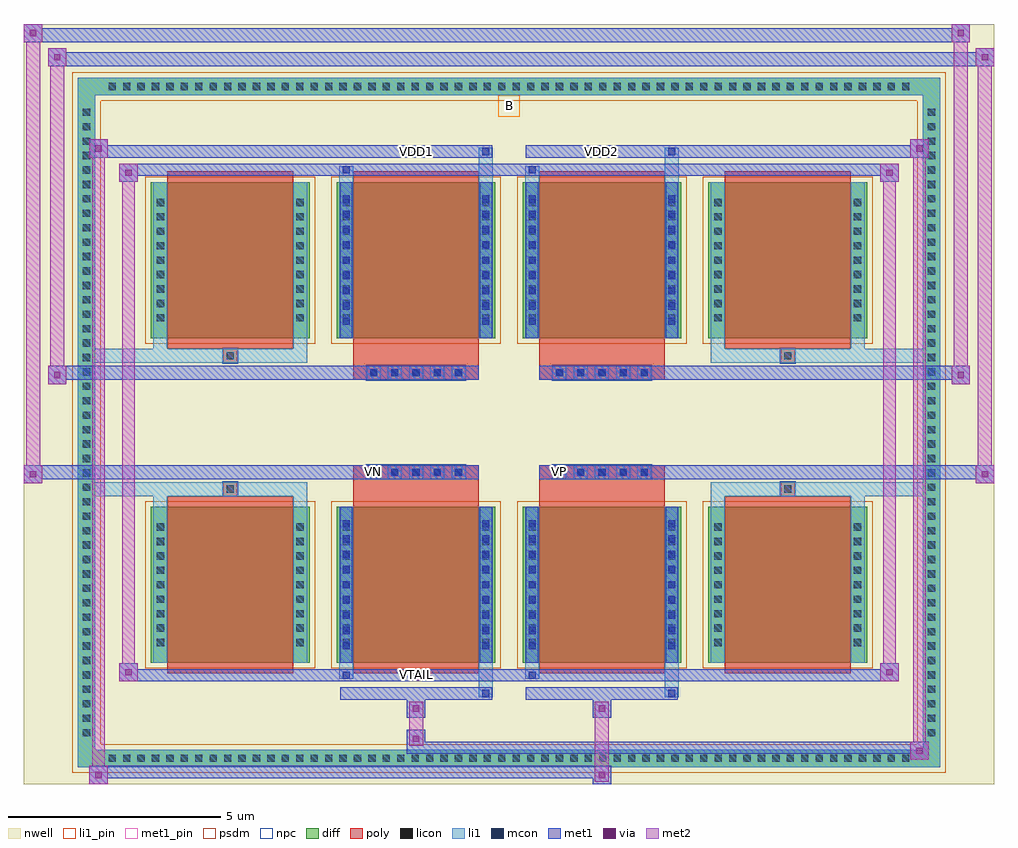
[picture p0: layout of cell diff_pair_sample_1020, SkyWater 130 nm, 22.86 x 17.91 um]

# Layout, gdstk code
import gdstk
lib = gdstk.Library(unit=1e-6, precision=5e-09)
def R(c, l, rs):  # rectangles x0, y0, x1, y1
    for r in rs: c.add(gdstk.rectangle(r[:2], r[2:], *l))
def A(c, l, x, y, w, h, nx, ny, dx, dy):  # array of equal rectangles
    R(c, l, [(x+i*dx, y+j*dy, x+i*dx+w, y+j*dy+h) for i in range(nx) for j in range(ny)])
def P(c, l, *ps):  # polygons
    for p in ps: c.add(gdstk.Polygon(p, *l))
nwell = (64, 20)
diff = (65, 20)
poly = (66, 20)
licon = (66, 44)
li1_pin = (67, 16)
li1 = (67, 20)
mcon = (67, 44)
met1_pin = (68, 16)
met1 = (68, 20)
via = (68, 44)
met2 = (69, 20)
psdm = (94, 20)
npc = (95, 20)

diff_pair_sample_1020 = lib.new_cell('diff_pair_sample_1020')
R(diff_pair_sample_1020, nwell, [(-11.43,-8.52,11.43,9.39), (-8.75,-6.71,-0.01,-0.805), (0.01,-6.71,8.75,-0.805), (-8.75,0.805,-0.01,6.71), (0.01,0.805,8.75,6.71)])
A(diff_pair_sample_1020, diff, -9.555, -8.12, 0.41, 0.41, 56, 2, 0.34, 15.83)
A(diff_pair_sample_1020, diff, -10.16, -7.515, 0.41, 0.41, 1, 44, 0, 0.34)
A(diff_pair_sample_1020, diff, 9.75, -7.515, 0.41, 0.41, 1, 44, 0, 0.34)
A(diff_pair_sample_1020, diff, -8.44, -5.665, 3.74, 3.68, 4, 2, 4.38, 7.65)
R(diff_pair_sample_1020, diff, [(-9.555,-8.12,9.555,-7.71), (-10.16,-7.515,-9.75,7.515), (9.75,-7.515,10.16,7.515), (-9.555,7.71,9.555,8.12)])
P(diff_pair_sample_1020, diff, [(10.16,8.12),(-10.16,8.12),(-10.16,-7.71),(-9.75,-7.71),(-9.75,7.71),(9.75,7.71),(9.75,-7.71),(-9.75,-7.71),(-10.16,-7.71),(-10.16,-8.12),(10.16,-8.12)])
A(diff_pair_sample_1020, poly, -8.05, -5.915, 2.96, 4.18, 4, 2, 4.38, 7.65)
A(diff_pair_sample_1020, poly, -3.355, -1.335, 0.33, 0.33, 5, 2, 0.5, 2.34)
A(diff_pair_sample_1020, poly, 1.025, -1.335, 0.33, 0.33, 5, 2, 0.5, 2.34)
R(diff_pair_sample_1020, poly, [(-6.735,-1.735,-6.405,-1.405), (-6.735,-1.735,-6.405,-1.405), (-3.67,-1.735,-0.71,-1.335), (0.71,-1.735,3.67,-1.335), (6.405,-1.735,6.735,-1.405), (6.405,-1.735,6.735,-1.405), (-3.67,-1.335,-0.71,-1.005), (0.71,-1.335,3.67,-1.005), (-3.67,1.005,-0.71,1.335), (0.71,1.005,3.67,1.335), (-3.67,1.335,-0.71,1.735), (0.71,1.335,3.67,1.735), (-6.735,1.405,-6.405,1.735), (-6.735,1.405,-6.405,1.735), (6.405,1.405,6.735,1.735), (6.405,1.405,6.735,1.735)])
A(diff_pair_sample_1020, licon, -9.435, -8, 0.17, 0.17, 56, 2, 0.34, 15.83)
A(diff_pair_sample_1020, licon, -10.04, -7.395, 0.17, 0.17, 1, 44, 0, 0.34)
A(diff_pair_sample_1020, licon, 9.87, -7.395, 0.17, 0.17, 1, 44, 0, 0.34)
A(diff_pair_sample_1020, licon, -8.3, -5.27, 0.17, 0.17, 1, 9, 0, 0.34)
A(diff_pair_sample_1020, licon, -5.01, -5.27, 0.17, 0.17, 1, 9, 0, 0.34)
A(diff_pair_sample_1020, licon, -3.92, -5.27, 0.17, 0.17, 1, 9, 0, 0.34)
A(diff_pair_sample_1020, licon, -0.63, -5.27, 0.17, 0.17, 1, 9, 0, 0.34)
A(diff_pair_sample_1020, licon, 0.46, -5.27, 0.17, 0.17, 1, 9, 0, 0.34)
A(diff_pair_sample_1020, licon, 3.75, -5.27, 0.17, 0.17, 1, 9, 0, 0.34)
A(diff_pair_sample_1020, licon, 4.84, -5.27, 0.17, 0.17, 1, 9, 0, 0.34)
A(diff_pair_sample_1020, licon, 8.13, -5.27, 0.17, 0.17, 1, 9, 0, 0.34)
A(diff_pair_sample_1020, licon, -3.275, -1.255, 0.17, 0.17, 5, 2, 0.5, 2.34)
A(diff_pair_sample_1020, licon, 1.105, -1.255, 0.17, 0.17, 5, 2, 0.5, 2.34)
A(diff_pair_sample_1020, licon, -8.3, 2.38, 0.17, 0.17, 1, 9, 0, 0.34)
A(diff_pair_sample_1020, licon, -5.01, 2.38, 0.17, 0.17, 1, 9, 0, 0.34)
A(diff_pair_sample_1020, licon, -3.92, 2.38, 0.17, 0.17, 1, 9, 0, 0.34)
A(diff_pair_sample_1020, licon, -0.63, 2.38, 0.17, 0.17, 1, 9, 0, 0.34)
A(diff_pair_sample_1020, licon, 0.46, 2.38, 0.17, 0.17, 1, 9, 0, 0.34)
A(diff_pair_sample_1020, licon, 3.75, 2.38, 0.17, 0.17, 1, 9, 0, 0.34)
A(diff_pair_sample_1020, licon, 4.84, 2.38, 0.17, 0.17, 1, 9, 0, 0.34)
A(diff_pair_sample_1020, licon, 8.13, 2.38, 0.17, 0.17, 1, 9, 0, 0.34)
R(diff_pair_sample_1020, licon, [(-6.655,-1.655,-6.485,-1.485), (6.485,-1.655,6.655,-1.485), (-6.655,1.485,-6.485,1.655), (6.485,1.485,6.655,1.655)])
R(diff_pair_sample_1020, li1_pin, [(-0.25,7.21,0.25,7.71)])
A(diff_pair_sample_1020, li1, -9.515, -8.08, 0.33, 0.33, 56, 2, 0.34, 15.83)
A(diff_pair_sample_1020, li1, -10.12, -7.475, 0.33, 0.33, 1, 44, 0, 0.34)
A(diff_pair_sample_1020, li1, 9.79, -7.475, 0.33, 0.33, 1, 44, 0, 0.34)
A(diff_pair_sample_1020, li1, -8.38, -5.35, 0.33, 0.33, 1, 9, 0, 0.34)
A(diff_pair_sample_1020, li1, -5.09, -5.35, 0.33, 0.33, 1, 9, 0, 0.34)
A(diff_pair_sample_1020, li1, -4, -5.35, 0.33, 0.33, 1, 9, 0, 0.34)
A(diff_pair_sample_1020, li1, -3.92, -5.35, 0.17, 0.17, 1, 9, 0, 0.36)
A(diff_pair_sample_1020, li1, -0.71, -5.35, 0.33, 0.33, 1, 9, 0, 0.34)
A(diff_pair_sample_1020, li1, -0.63, -5.35, 0.17, 0.17, 1, 9, 0, 0.36)
A(diff_pair_sample_1020, li1, 0.38, -5.35, 0.33, 0.33, 1, 9, 0, 0.34)
A(diff_pair_sample_1020, li1, 0.46, -5.35, 0.17, 0.17, 1, 9, 0, 0.36)
A(diff_pair_sample_1020, li1, 3.67, -5.35, 0.33, 0.33, 1, 9, 0, 0.34)
A(diff_pair_sample_1020, li1, 3.75, -5.35, 0.17, 0.17, 1, 9, 0, 0.36)
A(diff_pair_sample_1020, li1, 4.76, -5.35, 0.33, 0.33, 1, 9, 0, 0.34)
A(diff_pair_sample_1020, li1, 8.05, -5.35, 0.33, 0.33, 1, 9, 0, 0.34)
A(diff_pair_sample_1020, li1, -3.355, -1.335, 0.33, 0.33, 5, 2, 0.5, 2.34)
A(diff_pair_sample_1020, li1, 1.025, -1.335, 0.33, 0.33, 5, 2, 0.5, 2.34)
A(diff_pair_sample_1020, li1, -8.38, 2.3, 0.33, 0.33, 1, 9, 0, 0.34)
A(diff_pair_sample_1020, li1, -5.09, 2.3, 0.33, 0.33, 1, 9, 0, 0.34)
A(diff_pair_sample_1020, li1, -4, 2.3, 0.33, 0.33, 1, 9, 0, 0.34)
A(diff_pair_sample_1020, li1, -3.92, 2.3, 0.17, 0.17, 1, 9, 0, 0.36)
A(diff_pair_sample_1020, li1, -0.71, 2.3, 0.33, 0.33, 1, 9, 0, 0.34)
A(diff_pair_sample_1020, li1, -0.63, 2.3, 0.17, 0.17, 1, 9, 0, 0.36)
A(diff_pair_sample_1020, li1, 0.38, 2.3, 0.33, 0.33, 1, 9, 0, 0.34)
A(diff_pair_sample_1020, li1, 0.46, 2.3, 0.17, 0.17, 1, 9, 0, 0.36)
A(diff_pair_sample_1020, li1, 3.67, 2.3, 0.33, 0.33, 1, 9, 0, 0.34)
A(diff_pair_sample_1020, li1, 3.75, 2.3, 0.17, 0.17, 1, 9, 0, 0.36)
A(diff_pair_sample_1020, li1, 4.76, 2.3, 0.33, 0.33, 1, 9, 0, 0.34)
A(diff_pair_sample_1020, li1, 8.05, 2.3, 0.33, 0.33, 1, 9, 0, 0.34)
R(diff_pair_sample_1020, li1, [(-10.16,-8.12,-9.75,-7.71), (-10.16,-8.12,-9.75,-7.71), (-9.75,-8.12,9.75,-7.71), (9.75,-8.12,10.16,-7.71), (9.75,-8.12,10.16,-7.71), (-10.16,-7.71,-9.75,7.71), (9.75,-7.71,10.16,7.71), (-0.71,-6.47,-0.38,-5.665), (-0.63,-6.47,-0.46,-6.3), (3.67,-6.47,4,-5.665), (3.75,-6.47,3.92,-6.3), (-4,-6.04,-3.67,-5.665), (-3.92,-6.04,-3.75,-5.87), (0.38,-6.04,0.71,-5.665), (0.46,-6.04,0.63,-5.87), (-8.38,-5.665,-8.05,-1.985), (-5.09,-5.665,-4.76,-1.985), (-4,-5.665,-3.67,-1.985), (-0.71,-5.665,-0.38,-1.985), (0.38,-5.665,0.71,-1.985), (3.67,-5.665,4,-1.985), (4.76,-5.665,5.09,-1.985), (8.05,-5.665,8.38,-1.985), (-3.92,-5.35,-3.75,-2.3), (-0.63,-5.35,-0.46,-2.3), (0.46,-5.35,0.63,-2.3), (3.75,-5.35,3.92,-2.3), (-8.38,-1.985,-8.05,-1.405), (-5.09,-1.985,-4.76,-1.405), (4.76,-1.985,5.09,-1.405), (8.05,-1.985,8.38,-1.405), (-10.16,-1.735,-6.735,-1.405), (-8.38,-1.735,-6.735,-1.405), (-6.735,-1.735,-6.405,-1.405), (-6.405,-1.735,-4.76,-1.405), (4.76,-1.735,6.405,-1.405), (6.405,-1.735,6.735,-1.405), (6.405,-1.735,10.16,-1.405), (6.735,-1.735,8.38,-1.405), (-10.16,1.405,-6.735,1.735), (-8.38,1.405,-6.735,1.735), (-8.38,1.405,-8.05,1.985), (-6.735,1.405,-6.405,1.735), (-6.405,1.405,-4.76,1.735), (-5.09,1.405,-4.76,1.985), (4.76,1.405,6.405,1.735), (4.76,1.405,5.09,1.985), (6.405,1.405,6.735,1.735), (6.405,1.405,10.16,1.735), (6.735,1.405,8.38,1.735), (8.05,1.405,8.38,1.985), (-8.38,1.985,-8.05,5.665), (-5.09,1.985,-4.76,5.665), (-4,1.985,-3.67,5.665), (-0.71,1.985,-0.38,5.665), (0.38,1.985,0.71,5.665), (3.67,1.985,4,5.665), (4.76,1.985,5.09,5.665), (8.05,1.985,8.38,5.665), (-3.92,2.3,-3.75,5.35), (-0.63,2.3,-0.46,5.35), (0.46,2.3,0.63,5.35), (3.75,2.3,3.92,5.35), (-4,5.665,-3.67,6.04), (-0.71,5.665,-0.38,6.47), (0.38,5.665,0.71,6.04), (3.67,5.665,4,6.47), (-3.92,5.87,-3.75,6.04), (0.46,5.87,0.63,6.04), (-0.63,6.3,-0.46,6.47), (3.75,6.3,3.92,6.47), (-10.16,7.71,-9.75,8.12), (-10.16,7.71,-9.75,8.12), (-9.75,7.71,9.75,8.12), (9.75,7.71,10.16,8.12), (9.75,7.71,10.16,8.12)])
A(diff_pair_sample_1020, mcon, -3.92, -5.35, 0.17, 0.17, 1, 9, 0, 0.36)
A(diff_pair_sample_1020, mcon, -0.63, -5.35, 0.17, 0.17, 1, 9, 0, 0.36)
A(diff_pair_sample_1020, mcon, 0.46, -5.35, 0.17, 0.17, 1, 9, 0, 0.36)
A(diff_pair_sample_1020, mcon, 3.75, -5.35, 0.17, 0.17, 1, 9, 0, 0.36)
A(diff_pair_sample_1020, mcon, -3.275, -1.255, 0.17, 0.17, 5, 2, 0.5, 2.34)
A(diff_pair_sample_1020, mcon, 1.105, -1.255, 0.17, 0.17, 5, 2, 0.5, 2.34)
A(diff_pair_sample_1020, mcon, -3.92, 2.3, 0.17, 0.17, 1, 9, 0, 0.36)
A(diff_pair_sample_1020, mcon, -0.63, 2.3, 0.17, 0.17, 1, 9, 0, 0.36)
A(diff_pair_sample_1020, mcon, 0.46, 2.3, 0.17, 0.17, 1, 9, 0, 0.36)
A(diff_pair_sample_1020, mcon, 3.75, 2.3, 0.17, 0.17, 1, 9, 0, 0.36)
R(diff_pair_sample_1020, mcon, [(-0.63,-6.47,-0.46,-6.3), (3.75,-6.47,3.92,-6.3), (-3.92,-6.04,-3.75,-5.87), (0.46,-6.04,0.63,-5.87), (-3.92,5.87,-3.75,6.04), (0.46,5.87,0.63,6.04), (-0.63,6.3,-0.46,6.47), (3.75,6.3,3.92,6.47)])
R(diff_pair_sample_1020, met1_pin, [(-2.325,-6.08,-2.055,-5.81), (-3.325,-1.295,-3.055,-1.025), (1.055,-1.295,1.325,-1.025), (-2.325,6.26,-2.055,6.53), (2.055,6.26,2.325,6.53)])
A(diff_pair_sample_1020, met1, -3.98, -5.41, 0.29, 0.29, 1, 9, 0, 0.36)
A(diff_pair_sample_1020, met1, -0.69, -5.41, 0.29, 0.29, 1, 9, 0, 0.36)
A(diff_pair_sample_1020, met1, 0.4, -5.41, 0.29, 0.29, 1, 9, 0, 0.36)
A(diff_pair_sample_1020, met1, 3.69, -5.41, 0.29, 0.29, 1, 9, 0, 0.36)
A(diff_pair_sample_1020, met1, -3.335, -1.315, 0.29, 0.29, 5, 2, 0.5, 2.34)
A(diff_pair_sample_1020, met1, 1.045, -1.315, 0.29, 0.29, 5, 2, 0.5, 2.34)
A(diff_pair_sample_1020, met1, -3.98, 2.24, 0.29, 0.29, 1, 9, 0, 0.36)
A(diff_pair_sample_1020, met1, -0.69, 2.24, 0.29, 0.29, 1, 9, 0, 0.36)
A(diff_pair_sample_1020, met1, 0.4, 2.24, 0.29, 0.29, 1, 9, 0, 0.36)
A(diff_pair_sample_1020, met1, 3.69, 2.24, 0.29, 0.29, 1, 9, 0, 0.36)
R(diff_pair_sample_1020, met1, [(-9.89,-8.52,-9.46,-8.09), (1.975,-8.52,2.405,-8.09), (-9.89,-8.38,2.405,-8.09), (9.46,-7.95,9.89,-7.52), (-2.405,-7.81,9.89,-7.52), (-2.405,-7.67,-1.975,-7.24), (-2.405,-6.96,-1.975,-6.53), (1.975,-6.96,2.405,-6.53), (-3.98,-6.53,-0.4,-6.24), (-0.69,-6.53,-0.4,-6.24), (0.4,-6.53,3.98,-6.24), (3.69,-6.53,3.98,-6.24), (-9.18,-6.1,-8.75,-5.67), (-9.18,-6.1,-3.98,-5.81), (-3.98,-6.1,-3.69,-5.81), (-3.98,-6.1,-0.4,-5.81), (-0.4,-6.1,0.4,-5.81), (0.4,-6.1,0.69,-5.81), (0.4,-6.1,3.98,-5.81), (3.98,-6.1,9.18,-5.81), (8.75,-6.1,9.18,-5.67), (-3.98,-5.665,-3.69,-1.985), (-0.69,-5.665,-0.4,-1.985), (0.4,-5.665,0.69,-1.985), (3.69,-5.665,3.98,-1.985), (-11.43,-1.435,-11,-1.005), (11,-1.435,11.43,-1.005), (-11.43,-1.335,-0.71,-1.005), (-3.67,-1.335,-0.71,-1.005), (0.71,-1.335,3.67,-1.005), (0.71,-1.335,11.43,-1.005), (-10.86,0.905,-10.43,1.335), (10.43,0.905,10.86,1.335), (-10.86,1.005,-3.67,1.335), (-3.67,1.005,-0.71,1.335), (0.71,1.005,3.67,1.335), (3.67,1.005,10.86,1.335), (-3.98,1.985,-3.69,5.665), (-0.69,1.985,-0.4,5.665), (0.4,1.985,0.69,5.665), (3.69,1.985,3.98,5.665), (-9.18,5.67,-8.75,6.1), (8.75,5.67,9.18,6.1), (-9.18,5.81,-3.98,6.1), (-3.98,5.81,-3.69,6.1), (-3.98,5.81,-0.4,6.1), (-0.4,5.81,0.4,6.1), (0.4,5.81,0.69,6.1), (0.4,5.81,3.98,6.1), (3.98,5.81,9.18,6.1), (-9.89,6.24,-9.46,6.67), (-9.89,6.24,-3.98,6.53), (-3.98,6.24,-0.4,6.53), (-0.69,6.24,-0.4,6.53), (0.4,6.24,3.98,6.53), (3.69,6.24,3.98,6.53), (3.98,6.24,9.89,6.53), (9.46,6.24,9.89,6.67), (-10.86,8.39,-10.43,8.82), (-10.86,8.39,-8.75,8.72), (-8.75,8.39,8.75,8.72), (8.75,8.39,11.43,8.72), (11,8.39,11.43,8.82), (-11.43,8.96,-11,9.39), (-11.43,8.96,-8.75,9.29), (-8.75,8.96,8.75,9.29), (8.75,8.96,10.86,9.29), (10.43,8.96,10.86,9.39)])
R(diff_pair_sample_1020, via, [(-9.75,-8.38,-9.6,-8.23), (2.115,-8.38,2.265,-8.23), (9.6,-7.81,9.75,-7.66), (-2.265,-7.53,-2.115,-7.38), (-2.265,-6.82,-2.115,-6.67), (2.115,-6.82,2.265,-6.67), (-9.04,-5.96,-8.89,-5.81), (8.89,-5.96,9.04,-5.81), (-11.29,-1.295,-11.14,-1.145), (11.14,-1.295,11.29,-1.145), (-10.72,1.045,-10.57,1.195), (10.57,1.045,10.72,1.195), (-9.04,5.81,-8.89,5.96), (8.89,5.81,9.04,5.96), (-9.75,6.38,-9.6,6.53), (9.6,6.38,9.75,6.53), (-10.72,8.53,-10.57,8.68), (11.14,8.53,11.29,8.68), (-11.29,9.1,-11.14,9.25), (10.57,9.1,10.72,9.25)])
R(diff_pair_sample_1020, met2, [(-9.89,-8.52,-9.46,-8.09), (-9.82,-8.52,-9.53,6.67), (-9.53,-8.52,-9.46,-8.09), (-9.84,-8.47,-9.51,-8.14), (2.025,-8.47,2.355,-8.14), (2.025,-8.14,2.355,-6.91), (9.46,-7.95,9.89,-7.52), (9.53,-7.95,9.82,6.67), (9.82,-7.95,9.89,-7.52), (9.51,-7.9,9.84,-7.57), (-2.355,-7.62,-2.025,-7.29), (-2.355,-7.29,-2.025,-6.91), (-2.355,-6.91,-2.025,-6.58), (2.025,-6.91,2.355,-6.58), (-9.18,-6.1,-8.75,-5.67), (-9.11,-6.1,-8.82,6.1), (-8.82,-6.1,-8.75,-5.67), (8.75,-6.1,9.18,-5.67), (8.82,-6.1,9.11,6.1), (9.11,-6.1,9.18,-5.67), (-9.13,-6.05,-8.8,-5.72), (8.8,-6.05,9.13,-5.72), (-11.43,-1.435,-11,-1.005), (-11.38,-1.435,-11.05,9.39), (-11.05,-1.435,-11,-1.005), (11,-1.435,11.43,-1.005), (11.05,-1.435,11.38,8.82), (11.38,-1.435,11.43,-1.005), (-11.38,-1.385,-11.05,-1.055), (11.05,-1.385,11.38,-1.055), (-10.86,0.905,-10.43,1.335), (-10.81,0.905,-10.48,8.82), (-10.48,0.905,-10.43,1.335), (10.43,0.905,10.86,1.335), (10.48,0.905,10.81,9.39), (10.81,0.905,10.86,1.335), (-10.81,0.955,-10.48,1.285), (10.48,0.955,10.81,1.285), (-9.18,5.67,-8.75,6.1), (-8.82,5.67,-8.75,6.1), (8.75,5.67,9.18,6.1), (9.11,5.67,9.18,6.1), (-9.13,5.72,-8.8,6.05), (8.8,5.72,9.13,6.05), (-9.89,6.24,-9.46,6.67), (-9.53,6.24,-9.46,6.67), (9.46,6.24,9.89,6.67), (9.82,6.24,9.89,6.67), (-9.84,6.29,-9.51,6.62), (9.51,6.29,9.84,6.62), (-10.86,8.39,-10.43,8.82), (-10.48,8.39,-10.43,8.82), (11,8.39,11.43,8.82), (11.38,8.39,11.43,8.82), (-10.81,8.44,-10.48,8.77), (11.05,8.44,11.38,8.77), (-11.43,8.96,-11,9.39), (-11.05,8.96,-11,9.39), (10.43,8.96,10.86,9.39), (10.81,8.96,10.86,9.39), (-11.38,9.01,-11.05,9.34), (10.48,9.01,10.81,9.34)])
A(diff_pair_sample_1020, psdm, -8.57, -5.795, 4, 3.94, 4, 2, 4.38, 7.65)
P(diff_pair_sample_1020, psdm, [(10.29,8.25),(-10.29,8.25),(-10.29,-7.58),(-9.62,-7.58),(-9.62,7.58),(9.62,7.58),(9.62,-7.58),(-9.62,-7.58),(-10.29,-7.58),(-10.29,-8.25),(10.29,-8.25)])
A(diff_pair_sample_1020, npc, -3.375, -1.355, 0.37, 0.37, 5, 2, 0.5, 2.34)
A(diff_pair_sample_1020, npc, 1.005, -1.355, 0.37, 0.37, 5, 2, 0.5, 2.34)
R(diff_pair_sample_1020, npc, [(-6.755,-1.755,-6.385,-1.385), (6.385,-1.755,6.755,-1.385), (-3.375,-1.355,-2.505,-0.985), (-3.375,-1.355,-2.505,-0.985), (-2.875,-1.355,-2.005,-0.985), (-2.875,-1.355,-2.005,-0.985), (-2.375,-1.355,-1.505,-0.985), (-2.375,-1.355,-1.505,-0.985), (-1.875,-1.355,-1.005,-0.985), (-1.875,-1.355,-1.005,-0.985), (1.005,-1.355,1.875,-0.985), (1.005,-1.355,1.875,-0.985), (1.505,-1.355,2.375,-0.985), (1.505,-1.355,2.375,-0.985), (2.005,-1.355,2.875,-0.985), (2.005,-1.355,2.875,-0.985), (2.505,-1.355,3.375,-0.985), (2.505,-1.355,3.375,-0.985), (-3.375,0.985,-2.505,1.355), (-3.375,0.985,-2.505,1.355), (-2.875,0.985,-2.005,1.355), (-2.875,0.985,-2.005,1.355), (-2.375,0.985,-1.505,1.355), (-2.375,0.985,-1.505,1.355), (-1.875,0.985,-1.005,1.355), (-1.875,0.985,-1.005,1.355), (1.005,0.985,1.875,1.355), (1.005,0.985,1.875,1.355), (1.505,0.985,2.375,1.355), (1.505,0.985,2.375,1.355), (2.005,0.985,2.875,1.355), (2.005,0.985,2.875,1.355), (2.505,0.985,3.375,1.355), (2.505,0.985,3.375,1.355), (-6.755,1.385,-6.385,1.755), (6.385,1.385,6.755,1.755)])
diff_pair_sample_1020.add(gdstk.Label('VTAIL', (-2.19,-5.945), layer=68, texttype=5))
diff_pair_sample_1020.add(gdstk.Label('VN', (-3.19,-1.16), layer=68, texttype=5))
diff_pair_sample_1020.add(gdstk.Label('VP', (1.19,-1.16), layer=68, texttype=5))
diff_pair_sample_1020.add(gdstk.Label('B', (0,7.46), layer=67, texttype=5))
diff_pair_sample_1020.add(gdstk.Label('VDD2', (2.19,6.395), layer=68, texttype=5))
diff_pair_sample_1020.add(gdstk.Label('VDD1', (-2.19,6.395), layer=68, texttype=5))

lib.write_gds('diff_pair_sample_1020.gds')
